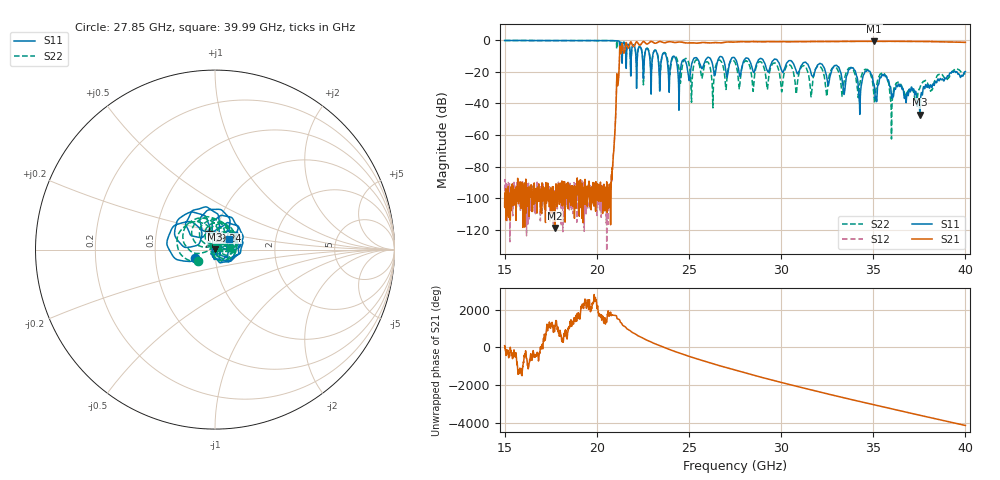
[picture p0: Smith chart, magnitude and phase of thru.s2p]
#  HZ  S  RI  R  50.00
! Rohde & Schwarz Vector Network Analyzer
! Rohde-Schwarz,ZNA43-4Port,1332450044101932,2.92
! Created: UTC 4/16/2025, 7:21:09 AM
! freq[Hz]  re:S11  im:S11  re:S21  im:S21  re:S12  im:S12  re:S22  im:S22
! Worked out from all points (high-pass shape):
!   2501 points, 15 GHz to 40 GHz, reference 50 ohm
!   highest |S21| = -0.78 dB at 35.05 GHz (marker M1); lowest = -118.7 dB at 17.72 GHz (marker M2)
!   |S21| within 3 dB of the highest: 21.77 GHz to 21.95 GHz (185 MHz wide, 0.846 % of centre); 22.03 GHz to end of sweep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
!   lowest |S11| = -47.2 dB at 37.53 GHz (marker M3), VSWR 1.01, Z = 49.8 + j0.406 ohm
!   |S11| at or under -10 dB: 22.86 GHz to 23.03 GHz (170 MHz wide, 0.741 % of centre); 23.3 GHz to 23.54 GHz (239.1 MHz wide, 1.02 % of centre); 23.76 GHz to end of sweep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
!   |S22| runs from -62.5 to -0.3 dB; largest |S21 - S12| = 0.027
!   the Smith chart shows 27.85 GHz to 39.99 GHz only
!   S11 on the Smith chart (normalised r, x): 27.85 GHz: 0.80, -0.08; 29.24 GHz: 0.91, +0.19; 39.99 GHz: 1.16, +0.14
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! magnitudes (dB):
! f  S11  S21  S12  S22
! 15 GHz  -0.3  -104.8  -93.9  -0.3
! 17.72 GHz  -0.4  -118.7  -100.5  -0.4
! 19.17 GHz  -0.3  -95.1  -93.7  -0.4
! 20.78 GHz  -0.4  -92.8  -89.8  -0.4
! 21.35 GHz  -4.0  -4.6  -4.6  -3.8
! 23.34 GHz  -13.0  -1.2  -1.2  -11.6
! 26.29 GHz  -15.8  -1.7  -1.7  -39.2
! 27.5 GHz  -11.7  -1.3  -1.3  -14.1
! 27.85 GHz  -18.4  -1.0  -1.0  -18.9
! 29.24 GHz  -19.0  -1.0  -1.0  -30.4
! 31.23 GHz  -14.2  -1.0  -1.0  -16.2
! 31.67 GHz  -22.5  -0.9  -0.9  -31.5
! 32.04 GHz  -15.4  -1.0  -1.0  -16.3
! 33.42 GHz  -34.4  -0.8  -0.8  -25.9
! 33.87 GHz  -17.5  -0.9  -0.9  -18.3
! 34.28 GHz  -44.7  -0.8  -0.8  -27.3
! 34.62 GHz  -19.7  -0.8  -0.8  -18.5
! 35.05 GHz  -28.4  -0.8  -0.8  -35.9
! 35.84 GHz  -25.8  -0.8  -0.8  -27.4
! 37.53 GHz  -47.2  -0.9  -0.9  -30.2
! 39.99 GHz  -20.1  -1.5  -1.5  -21.3
! 40 GHz  -19.9  -1.5  -1.5  -21.2
